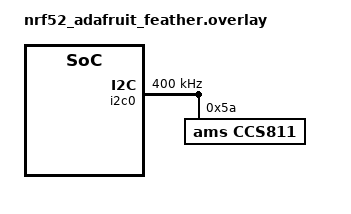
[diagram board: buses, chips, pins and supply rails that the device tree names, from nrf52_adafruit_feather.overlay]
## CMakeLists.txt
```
cmake_minimum_required(VERSION 3.8.2)

set(BOARD nrf52_adafruit_feather)

include($ENV{ZEPHYR_BASE}/cmake/app/boilerplate.cmake NO_POLICY_SCOPE)
project(nrf52_mesh)

# target_link_libraries(app PUBLIC subsys__bluetooth)

FILE(GLOB app_sources src/*.c)
target_sources(app PRIVATE ${app_sources})
```

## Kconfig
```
mainmenu "BT controller application"
 
menu "Application configuration"
 
module = MAIN_MODULE
module-str = Main module
source "subsys/logging/Kconfig.template.log_config"
 
module = MESH_MODULE
module-str = Mesh module
source "subsys/logging/Kconfig.template.log_config"

endmenu

source "Kconfig.zephyr"
```

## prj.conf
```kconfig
# General Kernel Options
CONFIG_SYSTEM_WORKQUEUE_STACK_SIZE=4096
CONFIG_HEAP_MEM_POOL_SIZE=16384

# Device Drivers
CONFIG_I2C=y
CONFIG_I2C_NRFX=y
CONFIG_I2C_0_NRF_TWIM=y
CONFIG_I2C_0=y
CONFIG_FLASH=y
CONFIG_FLASH_PAGE_LAYOUT=y
CONFIG_SENSOR=y
CONFIG_SENSOR_LOG_LEVEL_DBG=y
CONFIG_BME280=y
CONFIG_CCS811=y
CONFIG_CCS811_GPIO_DEV_NAME="GPIO_0"
CONFIG_CCS811_GPIO_WAKEUP=y
CONFIG_CCS811_GPIO_WAKEUP_PIN_NUM=16

# Bluetooth
CONFIG_BT_PERIPHERAL=y
CONFIG_BT_OBSERVER=y
CONFIG_BT_RX_BUF_COUNT=30
CONFIG_BT_RX_STACK_SIZE=4096
CONFIG_BT_MESH=y
CONFIG_BT_MESH_PB_ADV=n
CONFIG_BT_MESH_PB_GATT=n
#CONFIG_BT_MESH_GATT_PROXY=y
CONFIG_BT_MESH_LABEL_COUNT=0
CONFIG_BT_MESH_CRPL=128
CONFIG_BT_MESH_MSG_CACHE_SIZE=30
CONFIG_BT_MESH_ADV_BUF_COUNT=30
CONFIG_BT_MESH_TX_SEG_MSG_COUNT=3
CONFIG_BT_MESH_RX_SEG_MSG_COUNT=3
CONFIG_BT_MESH_TX_SEG_MAX=6
CONFIG_BT_MESH_RELAY=y
CONFIG_BT_MESH_CFG_CLI=y
CONFIG_BT_MESH_RPL_STORE_TIMEOUT=120
CONFIG_BT_MESH_DEBUG=y
CONFIG_BT_SETTINGS=y
#CONFIG_BT_L2CAP_RX_MTU=69
CONFIG_BT_L2CAP_TX_BUF_COUNT=8
CONFIG_BT_L2CAP_TX_MTU=69
CONFIG_BT_SMP=y
CONFIG_BT_PRIVACY=y
CONFIG_BT_DEVICE_NAME_DYNAMIC=y
CONFIG_BT_DEVICE_NAME_MAX=32
CONFIG_BT_DEVICE_NAME_GATT_WRITABLE=y
CONFIG_BT_DEVICE_NAME="iaq-mesh"
#CONFIG_BT_DEBUG_HCI_CORE=y
#CONFIG_BT_MESH_DEBUG_ADV=y
#CONFIG_BT_DEBUG_LOG=y

# Debugging Options
#CONFIG_TRACING=y
#CONFIG_STACK_USAGE=y
#CONFIG_ASSERT=y
#CONFIG_SEGGER_SYSTEMVIEW=y
#CONFIG_RTT_CONSOLE=y

# File Systems
CONFIG_FCB=y

# Logging Options
CONFIG_LOG=y
#CONFIG_LOG_RUNTIME_FILTERING=y
CONFIG_LOG_PRINTK=y

# Shell Options
#CONFIG_SHELL=y
#CONFIG_KERNEL_SHELL=y
#CONFIG_DEVICE_SHELL=y

# Storage 
CONFIG_FLASH_MAP=y
CONFIG_SETTINGS=y
CONFIG_SETTINGS_FCB=y
```

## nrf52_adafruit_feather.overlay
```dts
&i2c0 {
	status ="ok";
	clock-frequency = <I2C_BITRATE_FAST>;

	ccs811@5a {
		compatible = "ams,ccs811";
		reg = <0x5a>;
		label = "CCS811";
	};
/*
	bme280@76 {
		compatible = "bosch,bme280";
		reg = <0x76>;
		label = "BME280";
	};*/
};
```

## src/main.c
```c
#include <zephyr.h>
#include <device.h>
#include <gpio.h>
#include <sensor.h>

#include <logging/log.h>
#define LOG_MODULE_NAME main_module
#define LOG_LEVEL CONFIG_MAIN_MODULE_LOG_LEVEL
LOG_MODULE_REGISTER(LOG_MODULE_NAME);

#include "devices.h"
#include "mesh.h"

struct device *led_device[2];
struct device *ccs811;
struct device *bme280;

static void devices_init(void)
{
        LOG_DBG("Initialising...");

	led_device[0] = device_get_binding(LED0_GPIO_CONTROLLER);
	gpio_pin_configure(led_device[0], LED0_GPIO_PIN,
			   GPIO_DIR_OUT | GPIO_PUD_PULL_UP);
	gpio_pin_write(led_device[0], LED0_GPIO_PIN, 0);

	led_device[1] = device_get_binding(LED1_GPIO_CONTROLLER);
	gpio_pin_configure(led_device[1], LED1_GPIO_PIN,
			   GPIO_DIR_OUT | GPIO_PUD_PULL_UP);
	gpio_pin_write(led_device[1], LED1_GPIO_PIN, 0);

	ccs811 = device_get_binding(CONFIG_CCS811_NAME);
	if (!ccs811) {
		LOG_ERR("Failed to get CCS811 binding");
	}

	bme280 = device_get_binding("BME280");
	if (!bme280) {
		LOG_ERR("Failed to get BME280 binding");
	}
}

void main(void)
{
        int ret;

        devices_init();

        ret = bt_enable(bt_ready);
        if (ret) {
                LOG_ERR("Bluetooth init failed (err %d)", ret);
        }
}
```

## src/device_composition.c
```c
#include <gpio.h>
//#include <math.h>

#include "mesh.h"
#include "device_composition.h"
#include "sensors.h"
#include "devices.h"

static struct bt_mesh_cfg_srv cfg_srv = {
	.relay = BT_MESH_RELAY_DISABLED,
	.beacon = BT_MESH_BEACON_ENABLED,

#if defined(CONFIG_BT_MESH_FRIEND)
	.frnd = BT_MESH_FRIEND_ENABLED,
#else
	.frnd = BT_MESH_FRIEND_NOT_SUPPORTED,
#endif

#if defined(CONFIG_BT_MESH_GATT_PROXY)
	.gatt_proxy = BT_MESH_GATT_PROXY_ENABLED,
#else
	.gatt_proxy = BT_MESH_GATT_PROXY_NOT_SUPPORTED,
#endif

	.default_ttl = 7,

	/* 3 transmissions with 20ms interval */
	.net_transmit = BT_MESH_TRANSMIT(2, 20),
	.relay_retransmit = BT_MESH_TRANSMIT(2, 20),
};

static struct bt_mesh_health_srv health_srv = {
};

BT_MESH_HEALTH_PUB_DEFINE(health_pub, 0);

BT_MESH_MODEL_PUB_DEFINE(env_srv_pub_root, NULL, 2 + 1);
BT_MESH_MODEL_PUB_DEFINE(env_cli_pub_root, NULL, 2 + 1);

BT_MESH_MODEL_PUB_DEFINE(vnd_pub, NULL, 3 + 6);

/* Definitions of models user data */
struct environment_state env_srv_root_user_data;

struct vendor_state vnd_user_data;

static struct bt_mesh_elem elements[];

/* Environment Server message handlers */
static void env_get(struct bt_mesh_model *model,
		    struct bt_mesh_msg_ctx *ctx,
		    struct net_buf_simple *buf)
{
	struct net_buf_simple *msg = NET_BUF_SIMPLE(2 + 1 + 4);
	struct environment_state *state = model->user_data;

        sensors_get_env(state);

	bt_mesh_model_msg_init(msg, BT_MESH_MODEL_OP_ENV_STATUS);
	net_buf_simple_add_u8(msg, (u8_t) /*round(*/state->temp/*)*/);

	if (bt_mesh_model_send(model, ctx, msg, NULL, NULL)) {
		printk("Unable to send ENV_SRV Status response\n");
	}
}

/* Environment Client message handlers */
static void env_status(struct bt_mesh_model *model,
		       struct bt_mesh_msg_ctx *ctx,
		       struct net_buf_simple *buf)
{
	printk("Acknownledgement from ENV_SRV\n");
	printk("Temp = %02x\n", net_buf_simple_pull_u8(buf));
}

void env_publisher(struct bt_mesh_model *model)
{
	struct net_buf_simple *msg = model->pub->msg;
	struct environment_state *state = model->user_data;

	if (model->pub->addr != BT_MESH_ADDR_UNASSIGNED) {
		int err;
                
                sensors_get_env(state);

                bt_mesh_model_msg_init(msg, BT_MESH_MODEL_OP_ENV_STATUS);

                err = bt_mesh_model_publish(model);
		if (err) {
			printk("bt_mesh_model_publish err %d\n", err);
		}
        }
}

/* Vendor Model message handlers*/
static void vnd_get(struct bt_mesh_model *model,
		    struct bt_mesh_msg_ctx *ctx,
		    struct net_buf_simple *buf)
{
	struct net_buf_simple *msg = NET_BUF_SIMPLE(3 + 6 + 4);
	struct vendor_state *state = model->user_data;

	bt_mesh_model_msg_init(msg, BT_MESH_MODEL_OP_3(0x04, CID_ZEPHYR));
	net_buf_simple_add_le16(msg, state->current);
	net_buf_simple_add_le32(msg, state->response);

	if (bt_mesh_model_send(model, ctx, msg, NULL, NULL)) {
		printk("Unable to send VENDOR Status response\n");
	}
}

static void vnd_set_unack(struct bt_mesh_model *model,
			  struct bt_mesh_msg_ctx *ctx,
			  struct net_buf_simple *buf)
{
	u8_t tid;
	int current;
	s64_t now;
	struct vendor_state *state = model->user_data;

	current = net_buf_simple_pull_le16(buf);
	tid = net_buf_simple_pull_u8(buf);

	now = k_uptime_get();
	if (state->last_tid == tid && state->last_tx_addr == ctx->addr &&
	    (now - state->last_msg_timestamp <= 6000)) {
		return;
	}

	state->last_tid = tid;
	state->last_tx_addr = ctx->addr;
	state->last_msg_timestamp = now;
	state->current = current;

	/* This is dummy response for demo purpose */
	state->response = 0xA578FEB3;

	printk("Vendor model message = %04x\n", state->current);

	if (state->current == STATE_ON) {
		/* LED On */
		gpio_pin_write(led_device[1], LED1_GPIO_PIN, 0);
	} else {
		/* LED Off */
		gpio_pin_write(led_device[1], LED1_GPIO_PIN, 1);
	}
}

static void vnd_set(struct bt_mesh_model *model,
		    struct bt_mesh_msg_ctx *ctx,
		    struct net_buf_simple *buf)
{
	vnd_set_unack(model, ctx, buf);
	vnd_get(model, ctx, buf);
}

static void vnd_status(struct bt_mesh_model *model,
		       struct bt_mesh_msg_ctx *ctx,
		       struct net_buf_simple *buf)
{
	printk("Acknownledgement from Vendor\n");
	printk("cmd = %04x\n", net_buf_simple_pull_le16(buf));
	printk("response = %08x\n", net_buf_simple_pull_le32(buf));
}

/* Mapping of message handlers for Environment Server (0x1000) */
static const struct bt_mesh_model_op env_srv_op[] = {
	{ BT_MESH_MODEL_OP_2(0x82, 0x01), 0, env_get },
	BT_MESH_MODEL_OP_END,
};

/* Mapping of message handlers for Environment Client (0x1001) */
static const struct bt_mesh_model_op env_cli_op[] = {
	{ BT_MESH_MODEL_OP_2(0x82, 0x1), 1, env_status },
	BT_MESH_MODEL_OP_END,
};

/* Mapping of message handlers for Vendor (0x4321) */
static const struct bt_mesh_model_op vnd_ops[] = {
	{ BT_MESH_MODEL_OP_3(0x01, CID_ZEPHYR), 0, vnd_get },
	{ BT_MESH_MODEL_OP_3(0x02, CID_ZEPHYR), 3, vnd_set },
	{ BT_MESH_MODEL_OP_3(0x03, CID_ZEPHYR), 3, vnd_set_unack },
	{ BT_MESH_MODEL_OP_3(0x04, CID_ZEPHYR), 6, vnd_status },
	BT_MESH_MODEL_OP_END,
};

static struct bt_mesh_model root_models[] = {
        BT_MESH_MODEL_CFG_SRV(&cfg_srv),
	BT_MESH_MODEL_HEALTH_SRV(&health_srv, &health_pub),

	BT_MESH_MODEL(BT_MESH_MODEL_ID_SENSOR_SRV,
                      env_srv_op, &env_srv_pub_root,
		      &env_srv_root_user_data),
        BT_MESH_MODEL(BT_MESH_MODEL_ID_SENSOR_CLI,
                      env_cli_op, &env_cli_pub_root,
                      NULL),
};

static struct bt_mesh_model vnd_models[] = {
	BT_MESH_MODEL_VND(CID_ZEPHYR, 0x4321, vnd_ops,
			  &vnd_pub, &vnd_user_data),
};

static struct bt_mesh_elem elements[] = {
	BT_MESH_ELEM(0, root_models, vnd_models),
};

const struct bt_mesh_comp comp = {
	.cid = CID_ZEPHYR,
	.elem = elements,
	.elem_count = ARRAY_SIZE(elements),
};
```

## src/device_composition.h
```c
#pragma once

#define CID_ZEPHYR 0x0002

#define STATE_OFF	0x00
#define STATE_ON	0x01
#define STATE_DEFAULT	0x01
#define STATE_RESTORE	0x02

struct environment_state {
        double temp;
        double press;
        double humidity;
        double co2;
        double voc;
};

struct vendor_state {
	int current;
	u32_t response;
	u8_t last_tid;
	u16_t last_tx_addr;
	s64_t last_msg_timestamp;
};

extern struct environment_state env_srv_root_user_data;

//extern struct bt_mesh_model root_models[];
//extern struct bt_mesh_model vnd_models[];

extern const struct bt_mesh_comp comp;

void env_publisher(struct bt_mesh_model *model);
```

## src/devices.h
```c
#pragma once

extern struct device *led_device[2];
extern struct device *ccs811;
extern struct device *bme280;
```

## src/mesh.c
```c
#include <logging/log.h>
#define LOG_MODULE_NAME mesh_module
#define LOG_LEVEL CONFIG_MESH_MODULE_LOG_LEVEL
LOG_MODULE_REGISTER(LOG_MODULE_NAME);

#include "mesh.h"
#include "device_composition.h"

#ifdef OOB_AUTH_ENABLE

static int output_number(bt_mesh_output_action_t action, u32_t number)
{
	LOG_DBG("OOB Number: %u", number);
	return 0;
}

static int output_string(const char *str)
{
	LOG_DBG("OOB String: %s", str);
	return 0;
}

#endif

static void prov_complete(u16_t net_idx, u16_t addr)
{
        LOG_INF("Provisioning complete");
}

static void prov_reset(void)
{
        LOG_DBG("Provisioning reset");
	bt_mesh_prov_enable(BT_MESH_PROV_ADV | BT_MESH_PROV_GATT);
}

static u8_t dev_uuid[16] = { 0xdd, 0xdd };

static const struct bt_mesh_prov prov = {
	.uuid = dev_uuid,

#ifdef OOB_AUTH_ENABLE

	.output_size = 6,
	.output_actions = BT_MESH_DISPLAY_NUMBER | BT_MESH_DISPLAY_STRING,
	.output_number = output_number,
	.output_string = output_string,

#endif

	.complete = prov_complete,
	.reset = prov_reset,
};

void bt_ready(int err)
{
	struct bt_le_oob oob;

	if (err) {
		LOG_ERR("Bluetooth init failed (err %d)", err);
		return;
	}

	LOG_DBG("Bluetooth initialised");

	err = bt_mesh_init(&prov, &comp);
	if (err) {
		LOG_ERR("Initialising mesh failed (err %d)", err);
		return;
	}

	if (IS_ENABLED(CONFIG_SETTINGS)) {
		settings_load();
	}

	/* Use identity address as device UUID */
	if (bt_le_oob_get_local(BT_ID_DEFAULT, &oob)) {
		LOG_ERR("Identity Address unavailable");
	} else {
		memcpy(dev_uuid, oob.addr.a.val, 6);
	}

	bt_mesh_prov_enable(BT_MESH_PROV_GATT | BT_MESH_PROV_ADV);

	LOG_INF("Mesh initialised");
}
```

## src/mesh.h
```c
#pragma once

#include <settings/settings.h>
#include <bluetooth/bluetooth.h>
#include <bluetooth/conn.h>
#include <bluetooth/l2cap.h>
#include <bluetooth/hci.h>
#include <bluetooth/mesh.h>

/* Model Operation Codes */
#define BT_MESH_MODEL_OP_ENV_GET		BT_MESH_MODEL_OP_2(0x82, 0x01)
#define BT_MESH_MODEL_OP_ENV_SET		BT_MESH_MODEL_OP_2(0x82, 0x02)
#define BT_MESH_MODEL_OP_ENV_SET_UNACK	BT_MESH_MODEL_OP_2(0x82, 0x03)
#define BT_MESH_MODEL_OP_ENV_STATUS		BT_MESH_MODEL_OP_2(0x82, 0x04)

void bt_ready(int err);
```

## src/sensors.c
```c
#include <sensor.h>

#include "devices.h"
#include "device_composition.h"

void sensors_get_env(struct environment_state *state)
{
        struct sensor_value temp, press, humidity, co2, voc;

	sensor_sample_fetch(bme280);
	sensor_channel_get(bme280, SENSOR_CHAN_AMBIENT_TEMP, &temp);
        sensor_channel_get(bme280, SENSOR_CHAN_PRESS, &press);
        sensor_channel_get(bme280, SENSOR_CHAN_HUMIDITY, &humidity);
	printk("Temp: %d.%06d; Press: %d.%06d; Humidity: %d.%06d\n",
		    temp.val1, temp.val2, press.val1, press.val2,
		    humidity.val1, humidity.val2);

	sensor_sample_fetch(ccs811);
	sensor_channel_get(ccs811, SENSOR_CHAN_CO2, &co2);
        sensor_channel_get(ccs811, SENSOR_CHAN_VOC, &voc);
	printk("Co2: %d.%06dppm; VOC: %d.%06dppb\n", co2.val1, co2.val2,
            voc.val1, voc.val2);

        state->temp = sensor_value_to_double(&temp);
        state->press = sensor_value_to_double(&press);
        state->humidity = sensor_value_to_double(&humidity);
        state->co2 = sensor_value_to_double(&co2);
        state->voc = sensor_value_to_double(&voc);
}
```

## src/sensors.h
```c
#pragma once

void sensors_get_env(struct environment_state *state);
```
